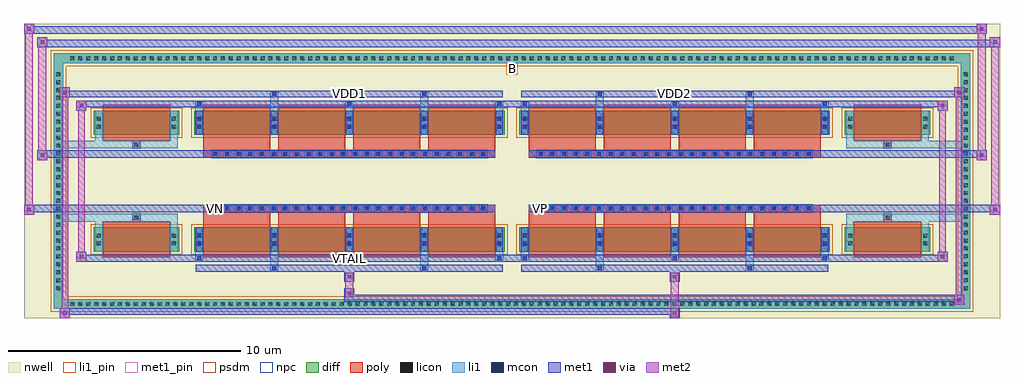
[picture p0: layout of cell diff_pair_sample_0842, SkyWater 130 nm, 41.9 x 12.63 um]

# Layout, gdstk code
import gdstk
lib = gdstk.Library(unit=1e-6, precision=5e-09)
def R(c, l, rs):  # rectangles x0, y0, x1, y1
    for r in rs: c.add(gdstk.rectangle(r[:2], r[2:], *l))
def A(c, l, x, y, w, h, nx, ny, dx, dy):  # array of equal rectangles
    R(c, l, [(x+i*dx, y+j*dy, x+i*dx+w, y+j*dy+h) for i in range(nx) for j in range(ny)])
def P(c, l, *ps):  # polygons
    for p in ps: c.add(gdstk.Polygon(p, *l))
nwell = (64, 20)
diff = (65, 20)
poly = (66, 20)
licon = (66, 44)
li1_pin = (67, 16)
li1 = (67, 20)
mcon = (67, 44)
met1_pin = (68, 16)
met1 = (68, 20)
via = (68, 44)
met2 = (69, 20)
psdm = (94, 20)
npc = (95, 20)

diff_pair_sample_0842 = lib.new_cell('diff_pair_sample_0842')
R(diff_pair_sample_0842, nwell, [(-20.95,-5.88,20.95,6.75), (-18.27,-4.07,-0.01,-0.805), (0.01,-4.07,18.27,-0.805), (-18.27,0.805,-0.01,4.07), (0.01,0.805,18.27,4.07)])
A(diff_pair_sample_0842, diff, -19.075, -5.48, 0.41, 0.41, 112, 2, 0.34, 10.55)
A(diff_pair_sample_0842, diff, -19.68, -4.795, 0.41, 0.41, 1, 28, 0, 0.34)
A(diff_pair_sample_0842, diff, 19.27, -4.795, 0.41, 0.41, 1, 28, 0, 0.34)
R(diff_pair_sample_0842, diff, [(-19.075,-5.48,19.075,-5.07), (-19.68,-4.795,-19.27,4.795), (19.27,-4.795,19.68,4.795), (-17.96,-3.025,-14.29,-1.985), (-13.65,-3.025,-0.32,-1.985), (0.32,-3.025,13.65,-1.985), (14.29,-3.025,17.96,-1.985), (-17.96,1.985,-14.29,3.025), (-13.65,1.985,-0.32,3.025), (0.32,1.985,13.65,3.025), (14.29,1.985,17.96,3.025), (-19.075,5.07,19.075,5.48)])
P(diff_pair_sample_0842, diff, [(19.68,5.48),(-19.68,5.48),(-19.68,-5.07),(-19.27,-5.07),(-19.27,5.07),(19.27,5.07),(19.27,-5.07),(-19.27,-5.07),(-19.68,-5.07),(-19.68,-5.48),(19.68,-5.48)])
A(diff_pair_sample_0842, poly, -13.26, -3.275, 2.89, 1.54, 4, 2, 3.22, 5.01)
A(diff_pair_sample_0842, poly, 0.71, -3.275, 2.89, 1.54, 4, 2, 3.22, 5.01)
A(diff_pair_sample_0842, poly, -13.26, -1.735, 2.89, 0.4, 4, 2, 3.22, 3.07)
A(diff_pair_sample_0842, poly, 0.71, -1.735, 2.89, 0.4, 4, 2, 3.22, 3.07)
A(diff_pair_sample_0842, poly, -12.9, -1.335, 0.33, 0.33, 24, 2, 0.5, 2.34)
A(diff_pair_sample_0842, poly, 1.07, -1.335, 0.33, 0.33, 24, 2, 0.5, 2.34)
R(diff_pair_sample_0842, poly, [(-17.57,-3.275,-14.68,-1.735), (14.68,-3.275,17.57,-1.735), (-16.29,-1.735,-15.96,-1.405), (-16.29,-1.735,-15.96,-1.405), (15.96,-1.735,16.29,-1.405), (15.96,-1.735,16.29,-1.405), (-13.26,-1.335,-0.71,-1.005), (0.71,-1.335,13.26,-1.005), (-13.26,1.005,-0.71,1.335), (0.71,1.005,13.26,1.335), (-16.29,1.405,-15.96,1.735), (-16.29,1.405,-15.96,1.735), (15.96,1.405,16.29,1.735), (15.96,1.405,16.29,1.735), (-17.57,1.735,-14.68,3.275), (14.68,1.735,17.57,3.275)])
A(diff_pair_sample_0842, licon, -18.955, -5.36, 0.17, 0.17, 112, 2, 0.34, 10.55)
A(diff_pair_sample_0842, licon, -19.56, -4.675, 0.17, 0.17, 1, 28, 0, 0.34)
A(diff_pair_sample_0842, licon, 19.39, -4.675, 0.17, 0.17, 1, 28, 0, 0.34)
A(diff_pair_sample_0842, licon, -13.51, -2.76, 0.17, 0.17, 5, 2, 3.22, 0.34)
A(diff_pair_sample_0842, licon, 0.46, -2.76, 0.17, 0.17, 5, 2, 3.22, 0.34)
A(diff_pair_sample_0842, licon, -12.82, -1.255, 0.17, 0.17, 24, 2, 0.5, 2.34)
A(diff_pair_sample_0842, licon, 1.15, -1.255, 0.17, 0.17, 24, 2, 0.5, 2.34)
A(diff_pair_sample_0842, licon, -13.51, 2.25, 0.17, 0.17, 5, 2, 3.22, 0.34)
A(diff_pair_sample_0842, licon, 0.46, 2.25, 0.17, 0.17, 5, 2, 3.22, 0.34)
R(diff_pair_sample_0842, licon, [(-17.82,-2.76,-17.65,-2.59), (-14.6,-2.76,-14.43,-2.59), (14.43,-2.76,14.6,-2.59), (17.65,-2.76,17.82,-2.59), (-17.82,-2.42,-17.65,-2.25), (-14.6,-2.42,-14.43,-2.25), (14.43,-2.42,14.6,-2.25), (17.65,-2.42,17.82,-2.25), (-16.21,-1.655,-16.04,-1.485), (16.04,-1.655,16.21,-1.485), (-16.21,1.485,-16.04,1.655), (16.04,1.485,16.21,1.655), (-17.82,2.25,-17.65,2.42), (-14.6,2.25,-14.43,2.42), (14.43,2.25,14.6,2.42), (17.65,2.25,17.82,2.42), (-17.82,2.59,-17.65,2.76), (-14.6,2.59,-14.43,2.76), (14.43,2.59,14.6,2.76), (17.65,2.59,17.82,2.76)])
R(diff_pair_sample_0842, li1_pin, [(-0.25,4.57,0.25,5.07)])
A(diff_pair_sample_0842, li1, -19.035, -5.44, 0.33, 0.33, 112, 2, 0.34, 10.55)
A(diff_pair_sample_0842, li1, -19.64, -4.755, 0.33, 0.33, 1, 28, 0, 0.34)
A(diff_pair_sample_0842, li1, 19.31, -4.755, 0.33, 0.33, 1, 28, 0, 0.34)
A(diff_pair_sample_0842, li1, -13.59, -3.4, 0.33, 0.375, 3, 2, 6.44, 6.425)
A(diff_pair_sample_0842, li1, -13.51, -3.4, 0.17, 0.17, 3, 2, 6.44, 6.63)
A(diff_pair_sample_0842, li1, 0.38, -3.4, 0.33, 0.375, 3, 2, 6.44, 6.425)
A(diff_pair_sample_0842, li1, 0.46, -3.4, 0.17, 0.17, 3, 2, 6.44, 6.63)
A(diff_pair_sample_0842, li1, -13.59, -3.025, 0.33, 1.04, 5, 2, 3.22, 5.01)
A(diff_pair_sample_0842, li1, 0.38, -3.025, 0.33, 1.04, 5, 2, 3.22, 5.01)
A(diff_pair_sample_0842, li1, -13.59, -2.84, 0.33, 0.33, 5, 2, 3.22, 0.34)
A(diff_pair_sample_0842, li1, 0.38, -2.84, 0.33, 0.33, 5, 2, 3.22, 0.34)
A(diff_pair_sample_0842, li1, -13.51, -2.77, 0.17, 0.17, 5, 2, 3.22, 0.36)
A(diff_pair_sample_0842, li1, -13.51, -2.77, 0.17, 0.53, 5, 2, 3.22, 5.01)
A(diff_pair_sample_0842, li1, 0.46, -2.77, 0.17, 0.17, 5, 2, 3.22, 0.36)
A(diff_pair_sample_0842, li1, 0.46, -2.77, 0.17, 0.53, 5, 2, 3.22, 5.01)
A(diff_pair_sample_0842, li1, -12.9, -1.335, 0.33, 0.33, 24, 2, 0.5, 2.34)
A(diff_pair_sample_0842, li1, 1.07, -1.335, 0.33, 0.33, 24, 2, 0.5, 2.34)
A(diff_pair_sample_0842, li1, -13.59, 2.17, 0.33, 0.33, 5, 2, 3.22, 0.34)
A(diff_pair_sample_0842, li1, 0.38, 2.17, 0.33, 0.33, 5, 2, 3.22, 0.34)
A(diff_pair_sample_0842, li1, -13.51, 2.24, 0.17, 0.17, 5, 2, 3.22, 0.36)
A(diff_pair_sample_0842, li1, 0.46, 2.24, 0.17, 0.17, 5, 2, 3.22, 0.36)
R(diff_pair_sample_0842, li1, [(-19.68,-5.48,-19.27,-5.07), (-19.68,-5.48,-19.27,-5.07), (-19.27,-5.48,19.27,-5.07), (19.27,-5.48,19.68,-5.07), (19.27,-5.48,19.68,-5.07), (-19.68,-5.07,-19.27,5.07), (19.27,-5.07,19.68,5.07), (-10.37,-3.83,-10.04,-3.025), (-10.29,-3.83,-10.12,-3.66), (-3.93,-3.83,-3.6,-3.025), (-3.85,-3.83,-3.68,-3.66), (3.6,-3.83,3.93,-3.025), (3.68,-3.83,3.85,-3.66), (10.04,-3.83,10.37,-3.025), (10.12,-3.83,10.29,-3.66), (-17.9,-3.025,-17.57,-1.985), (-14.68,-3.025,-14.35,-1.985), (14.35,-3.025,14.68,-1.985), (17.57,-3.025,17.9,-1.985), (-17.9,-2.84,-17.57,-2.51), (-14.68,-2.84,-14.35,-2.51), (14.35,-2.84,14.68,-2.51), (17.57,-2.84,17.9,-2.51), (-17.9,-2.5,-17.57,-2.17), (-14.68,-2.5,-14.35,-2.17), (14.35,-2.5,14.68,-2.17), (17.57,-2.5,17.9,-2.17), (-17.9,-1.985,-17.57,-1.405), (-14.68,-1.985,-14.35,-1.405), (14.35,-1.985,14.68,-1.405), (17.57,-1.985,17.9,-1.405), (-19.68,-1.735,-16.29,-1.405), (-17.9,-1.735,-16.29,-1.405), (-16.29,-1.735,-15.96,-1.405), (-15.96,-1.735,-14.35,-1.405), (14.35,-1.735,15.96,-1.405), (15.96,-1.735,16.29,-1.405), (15.96,-1.735,19.68,-1.405), (16.29,-1.735,17.9,-1.405), (-19.68,1.405,-16.29,1.735), (-17.9,1.405,-16.29,1.735), (-17.9,1.405,-17.57,1.985), (-16.29,1.405,-15.96,1.735), (-15.96,1.405,-14.35,1.735), (-14.68,1.405,-14.35,1.985), (14.35,1.405,15.96,1.735), (14.35,1.405,14.68,1.985), (15.96,1.405,16.29,1.735), (15.96,1.405,19.68,1.735), (16.29,1.405,17.9,1.735), (17.57,1.405,17.9,1.985), (-17.9,1.985,-17.57,3.025), (-14.68,1.985,-14.35,3.025), (14.35,1.985,14.68,3.025), (17.57,1.985,17.9,3.025), (-17.9,2.17,-17.57,2.5), (-14.68,2.17,-14.35,2.5), (14.35,2.17,14.68,2.5), (17.57,2.17,17.9,2.5), (-17.9,2.51,-17.57,2.84), (-14.68,2.51,-14.35,2.84), (14.35,2.51,14.68,2.84), (17.57,2.51,17.9,2.84), (-10.37,3.025,-10.04,3.83), (-3.93,3.025,-3.6,3.83), (3.6,3.025,3.93,3.83), (10.04,3.025,10.37,3.83), (-10.29,3.66,-10.12,3.83), (-3.85,3.66,-3.68,3.83), (3.68,3.66,3.85,3.83), (10.12,3.66,10.29,3.83), (-19.68,5.07,-19.27,5.48), (-19.68,5.07,-19.27,5.48), (-19.27,5.07,19.27,5.48), (19.27,5.07,19.68,5.48), (19.27,5.07,19.68,5.48)])
A(diff_pair_sample_0842, mcon, -13.51, -3.4, 0.17, 0.17, 3, 2, 6.44, 6.63)
A(diff_pair_sample_0842, mcon, 0.46, -3.4, 0.17, 0.17, 3, 2, 6.44, 6.63)
A(diff_pair_sample_0842, mcon, -13.51, -2.77, 0.17, 0.17, 5, 2, 3.22, 0.36)
A(diff_pair_sample_0842, mcon, 0.46, -2.77, 0.17, 0.17, 5, 2, 3.22, 0.36)
A(diff_pair_sample_0842, mcon, -12.82, -1.255, 0.17, 0.17, 24, 2, 0.5, 2.34)
A(diff_pair_sample_0842, mcon, 1.15, -1.255, 0.17, 0.17, 24, 2, 0.5, 2.34)
A(diff_pair_sample_0842, mcon, -13.51, 2.24, 0.17, 0.17, 5, 2, 3.22, 0.36)
A(diff_pair_sample_0842, mcon, 0.46, 2.24, 0.17, 0.17, 5, 2, 3.22, 0.36)
R(diff_pair_sample_0842, mcon, [(-10.29,-3.83,-10.12,-3.66), (-3.85,-3.83,-3.68,-3.66), (3.68,-3.83,3.85,-3.66), (10.12,-3.83,10.29,-3.66), (-10.29,3.66,-10.12,3.83), (-3.85,3.66,-3.68,3.83), (3.68,3.66,3.85,3.83), (10.12,3.66,10.29,3.83)])
R(diff_pair_sample_0842, met1_pin, [(-7.12,-3.44,-6.85,-3.17), (-12.87,-1.295,-12.6,-1.025), (1.1,-1.295,1.37,-1.025), (-7.12,3.62,-6.85,3.89), (6.85,3.62,7.12,3.89)])
A(diff_pair_sample_0842, met1, -13.57, -3.46, 0.29, 0.29, 3, 2, 6.44, 6.63)
A(diff_pair_sample_0842, met1, 0.4, -3.46, 0.29, 0.29, 3, 2, 6.44, 6.63)
A(diff_pair_sample_0842, met1, -13.57, -3.025, 0.29, 1.04, 5, 2, 3.22, 5.01)
A(diff_pair_sample_0842, met1, 0.4, -3.025, 0.29, 1.04, 5, 2, 3.22, 5.01)
A(diff_pair_sample_0842, met1, -13.57, -2.83, 0.29, 0.29, 5, 2, 3.22, 0.36)
A(diff_pair_sample_0842, met1, 0.4, -2.83, 0.29, 0.29, 5, 2, 3.22, 0.36)
A(diff_pair_sample_0842, met1, -12.88, -1.315, 0.29, 0.29, 24, 2, 0.5, 2.34)
A(diff_pair_sample_0842, met1, 1.09, -1.315, 0.29, 0.29, 24, 2, 0.5, 2.34)
A(diff_pair_sample_0842, met1, -13.57, 2.18, 0.29, 0.29, 5, 2, 3.22, 0.36)
A(diff_pair_sample_0842, met1, 0.4, 2.18, 0.29, 0.29, 5, 2, 3.22, 0.36)
R(diff_pair_sample_0842, met1, [(-19.41,-5.88,-18.98,-5.45), (6.77,-5.88,7.2,-5.45), (-19.41,-5.74,7.2,-5.45), (18.98,-5.31,19.41,-4.88), (-7.2,-5.17,19.41,-4.88), (-7.2,-5.03,-6.77,-4.6), (-7.2,-4.32,-6.77,-3.89), (6.77,-4.32,7.2,-3.89), (-13.57,-3.89,-0.4,-3.6), (-10.35,-3.89,-10.06,-3.6), (-3.91,-3.89,-3.62,-3.6), (0.4,-3.89,13.57,-3.6), (3.62,-3.89,3.91,-3.6), (10.06,-3.89,10.35,-3.6), (-18.7,-3.46,-18.27,-3.03), (-18.7,-3.46,-13.57,-3.17), (-13.57,-3.46,-0.4,-3.17), (-0.4,-3.46,0.4,-3.17), (0.4,-3.46,13.57,-3.17), (13.57,-3.46,18.7,-3.17), (18.27,-3.46,18.7,-3.03), (-20.95,-1.435,-20.52,-1.005), (20.52,-1.435,20.95,-1.005), (-20.95,-1.335,-0.71,-1.005), (-13.26,-1.335,-0.71,-1.005), (0.71,-1.335,13.26,-1.005), (0.71,-1.335,20.95,-1.005), (-20.38,0.905,-19.95,1.335), (19.95,0.905,20.38,1.335), (-20.38,1.005,-13.26,1.335), (-13.26,1.005,-0.71,1.335), (0.71,1.005,13.26,1.335), (13.26,1.005,20.38,1.335), (-18.7,3.03,-18.27,3.46), (18.27,3.03,18.7,3.46), (-18.7,3.17,-13.57,3.46), (-13.57,3.17,-0.4,3.46), (-0.4,3.17,0.4,3.46), (0.4,3.17,13.57,3.46), (13.57,3.17,18.7,3.46), (-19.41,3.6,-18.98,4.03), (-19.41,3.6,-13.57,3.89), (-13.57,3.6,-0.4,3.89), (-10.35,3.6,-10.06,3.89), (-3.91,3.6,-3.62,3.89), (0.4,3.6,13.57,3.89), (3.62,3.6,3.91,3.89), (10.06,3.6,10.35,3.89), (13.57,3.6,19.41,3.89), (18.98,3.6,19.41,4.03), (-20.38,5.75,-19.95,6.18), (-20.38,5.75,-18.27,6.08), (-18.27,5.75,18.27,6.08), (18.27,5.75,20.95,6.08), (20.52,5.75,20.95,6.18), (-20.95,6.32,-20.52,6.75), (-20.95,6.32,-18.27,6.65), (-18.27,6.32,18.27,6.65), (18.27,6.32,20.38,6.65), (19.95,6.32,20.38,6.75)])
R(diff_pair_sample_0842, via, [(-19.27,-5.74,-19.12,-5.59), (6.91,-5.74,7.06,-5.59), (19.12,-5.17,19.27,-5.02), (-7.06,-4.89,-6.91,-4.74), (-7.06,-4.18,-6.91,-4.03), (6.91,-4.18,7.06,-4.03), (-18.56,-3.32,-18.41,-3.17), (18.41,-3.32,18.56,-3.17), (-20.81,-1.295,-20.66,-1.145), (20.66,-1.295,20.81,-1.145), (-20.24,1.045,-20.09,1.195), (20.09,1.045,20.24,1.195), (-18.56,3.17,-18.41,3.32), (18.41,3.17,18.56,3.32), (-19.27,3.74,-19.12,3.89), (19.12,3.74,19.27,3.89), (-20.24,5.89,-20.09,6.04), (20.66,5.89,20.81,6.04), (-20.81,6.46,-20.66,6.61), (20.09,6.46,20.24,6.61)])
R(diff_pair_sample_0842, met2, [(-19.41,-5.88,-18.98,-5.45), (-19.34,-5.88,-19.05,4.03), (-19.05,-5.88,-18.98,-5.45), (-19.36,-5.83,-19.03,-5.5), (6.82,-5.83,7.15,-5.5), (6.82,-5.5,7.15,-4.27), (18.98,-5.31,19.41,-4.88), (19.05,-5.31,19.34,4.03), (19.34,-5.31,19.41,-4.88), (19.03,-5.26,19.36,-4.93), (-7.15,-4.98,-6.82,-4.65), (-7.15,-4.65,-6.82,-4.27), (-7.15,-4.27,-6.82,-3.94), (6.82,-4.27,7.15,-3.94), (-18.7,-3.46,-18.27,-3.03), (-18.63,-3.46,-18.34,3.46), (-18.34,-3.46,-18.27,-3.03), (18.27,-3.46,18.7,-3.03), (18.34,-3.46,18.63,3.46), (18.63,-3.46,18.7,-3.03), (-18.65,-3.41,-18.32,-3.08), (18.32,-3.41,18.65,-3.08), (-20.95,-1.435,-20.52,-1.005), (-20.9,-1.435,-20.57,6.75), (-20.57,-1.435,-20.52,-1.005), (20.52,-1.435,20.95,-1.005), (20.57,-1.435,20.9,6.18), (20.9,-1.435,20.95,-1.005), (-20.9,-1.385,-20.57,-1.055), (20.57,-1.385,20.9,-1.055), (-20.38,0.905,-19.95,1.335), (-20.33,0.905,-20,6.18), (-20,0.905,-19.95,1.335), (19.95,0.905,20.38,1.335), (20,0.905,20.33,6.75), (20.33,0.905,20.38,1.335), (-20.33,0.955,-20,1.285), (20,0.955,20.33,1.285), (-18.7,3.03,-18.27,3.46), (-18.34,3.03,-18.27,3.46), (18.27,3.03,18.7,3.46), (18.63,3.03,18.7,3.46), (-18.65,3.08,-18.32,3.41), (18.32,3.08,18.65,3.41), (-19.41,3.6,-18.98,4.03), (-19.05,3.6,-18.98,4.03), (18.98,3.6,19.41,4.03), (19.34,3.6,19.41,4.03), (-19.36,3.65,-19.03,3.98), (19.03,3.65,19.36,3.98), (-20.38,5.75,-19.95,6.18), (-20,5.75,-19.95,6.18), (20.52,5.75,20.95,6.18), (20.9,5.75,20.95,6.18), (-20.33,5.8,-20,6.13), (20.57,5.8,20.9,6.13), (-20.95,6.32,-20.52,6.75), (-20.57,6.32,-20.52,6.75), (19.95,6.32,20.38,6.75), (20.33,6.32,20.38,6.75), (-20.9,6.37,-20.57,6.7), (20,6.37,20.33,6.7)])
R(diff_pair_sample_0842, psdm, [(-18.09,-3.155,-14.16,-1.855), (-13.78,-3.155,-0.19,-1.855), (0.19,-3.155,13.78,-1.855), (14.16,-3.155,18.09,-1.855), (-18.09,1.855,-14.16,3.155), (-13.78,1.855,-0.19,3.155), (0.19,1.855,13.78,3.155), (14.16,1.855,18.09,3.155)])
P(diff_pair_sample_0842, psdm, [(19.81,5.61),(-19.81,5.61),(-19.81,-4.94),(-19.14,-4.94),(-19.14,4.94),(19.14,4.94),(19.14,-4.94),(-19.14,-4.94),(-19.81,-4.94),(-19.81,-5.61),(19.81,-5.61)])
A(diff_pair_sample_0842, npc, -12.92, -1.355, 0.37, 0.37, 24, 2, 0.5, 2.34)
A(diff_pair_sample_0842, npc, 1.05, -1.355, 0.37, 0.37, 24, 2, 0.5, 2.34)
R(diff_pair_sample_0842, npc, [(-16.31,-1.755,-15.94,-1.385), (15.94,-1.755,16.31,-1.385), (-12.92,-1.355,-12.05,-0.985), (-12.92,-1.355,-12.05,-0.985), (-12.42,-1.355,-11.55,-0.985), (-12.42,-1.355,-11.55,-0.985), (-11.92,-1.355,-11.05,-0.985), (-11.92,-1.355,-11.05,-0.985), (-11.42,-1.355,-10.55,-0.985), (-11.42,-1.355,-10.55,-0.985), (-10.92,-1.355,-10.05,-0.985), (-10.92,-1.355,-10.05,-0.985), (-10.42,-1.355,-9.55,-0.985), (-10.42,-1.355,-9.55,-0.985), (-9.92,-1.355,-9.05,-0.985), (-9.92,-1.355,-9.05,-0.985), (-9.42,-1.355,-8.55,-0.985), (-9.42,-1.355,-8.55,-0.985), (-8.92,-1.355,-8.05,-0.985), (-8.92,-1.355,-8.05,-0.985), (-8.42,-1.355,-7.55,-0.985), (-8.42,-1.355,-7.55,-0.985), (-7.92,-1.355,-7.05,-0.985), (-7.92,-1.355,-7.05,-0.985), (-7.42,-1.355,-6.55,-0.985), (-7.42,-1.355,-6.55,-0.985), (-6.92,-1.355,-6.05,-0.985), (-6.92,-1.355,-6.05,-0.985), (-6.42,-1.355,-5.55,-0.985), (-6.42,-1.355,-5.55,-0.985), (-5.92,-1.355,-5.05,-0.985), (-5.92,-1.355,-5.05,-0.985), (-5.42,-1.355,-4.55,-0.985), (-5.42,-1.355,-4.55,-0.985), (-4.92,-1.355,-4.05,-0.985), (-4.92,-1.355,-4.05,-0.985), (-4.42,-1.355,-3.55,-0.985), (-4.42,-1.355,-3.55,-0.985), (-3.92,-1.355,-3.05,-0.985), (-3.92,-1.355,-3.05,-0.985), (-3.42,-1.355,-2.55,-0.985), (-3.42,-1.355,-2.55,-0.985), (-2.92,-1.355,-2.05,-0.985), (-2.92,-1.355,-2.05,-0.985), (-2.42,-1.355,-1.55,-0.985), (-2.42,-1.355,-1.55,-0.985), (-1.92,-1.355,-1.05,-0.985), (-1.92,-1.355,-1.05,-0.985), (1.05,-1.355,1.92,-0.985), (1.05,-1.355,1.92,-0.985), (1.55,-1.355,2.42,-0.985), (1.55,-1.355,2.42,-0.985), (2.05,-1.355,2.92,-0.985), (2.05,-1.355,2.92,-0.985), (2.55,-1.355,3.42,-0.985), (2.55,-1.355,3.42,-0.985), (3.05,-1.355,3.92,-0.985), (3.05,-1.355,3.92,-0.985), (3.55,-1.355,4.42,-0.985), (3.55,-1.355,4.42,-0.985), (4.05,-1.355,4.92,-0.985), (4.05,-1.355,4.92,-0.985), (4.55,-1.355,5.42,-0.985), (4.55,-1.355,5.42,-0.985), (5.05,-1.355,5.92,-0.985), (5.05,-1.355,5.92,-0.985), (5.55,-1.355,6.42,-0.985), (5.55,-1.355,6.42,-0.985), (6.05,-1.355,6.92,-0.985), (6.05,-1.355,6.92,-0.985), (6.55,-1.355,7.42,-0.985), (6.55,-1.355,7.42,-0.985), (7.05,-1.355,7.92,-0.985), (7.05,-1.355,7.92,-0.985), (7.55,-1.355,8.42,-0.985), (7.55,-1.355,8.42,-0.985), (8.05,-1.355,8.92,-0.985), (8.05,-1.355,8.92,-0.985), (8.55,-1.355,9.42,-0.985), (8.55,-1.355,9.42,-0.985), (9.05,-1.355,9.92,-0.985), (9.05,-1.355,9.92,-0.985), (9.55,-1.355,10.42,-0.985), (9.55,-1.355,10.42,-0.985), (10.05,-1.355,10.92,-0.985), (10.05,-1.355,10.92,-0.985), (10.55,-1.355,11.42,-0.985), (10.55,-1.355,11.42,-0.985), (11.05,-1.355,11.92,-0.985), (11.05,-1.355,11.92,-0.985), (11.55,-1.355,12.42,-0.985), (11.55,-1.355,12.42,-0.985), (12.05,-1.355,12.92,-0.985), (12.05,-1.355,12.92,-0.985), (-12.92,0.985,-12.05,1.355), (-12.92,0.985,-12.05,1.355), (-12.42,0.985,-11.55,1.355), (-12.42,0.985,-11.55,1.355), (-11.92,0.985,-11.05,1.355), (-11.92,0.985,-11.05,1.355), (-11.42,0.985,-10.55,1.355), (-11.42,0.985,-10.55,1.355), (-10.92,0.985,-10.05,1.355), (-10.92,0.985,-10.05,1.355), (-10.42,0.985,-9.55,1.355), (-10.42,0.985,-9.55,1.355), (-9.92,0.985,-9.05,1.355), (-9.92,0.985,-9.05,1.355), (-9.42,0.985,-8.55,1.355), (-9.42,0.985,-8.55,1.355), (-8.92,0.985,-8.05,1.355), (-8.92,0.985,-8.05,1.355), (-8.42,0.985,-7.55,1.355), (-8.42,0.985,-7.55,1.355), (-7.92,0.985,-7.05,1.355), (-7.92,0.985,-7.05,1.355), (-7.42,0.985,-6.55,1.355), (-7.42,0.985,-6.55,1.355), (-6.92,0.985,-6.05,1.355), (-6.92,0.985,-6.05,1.355), (-6.42,0.985,-5.55,1.355), (-6.42,0.985,-5.55,1.355), (-5.92,0.985,-5.05,1.355), (-5.92,0.985,-5.05,1.355), (-5.42,0.985,-4.55,1.355), (-5.42,0.985,-4.55,1.355), (-4.92,0.985,-4.05,1.355), (-4.92,0.985,-4.05,1.355), (-4.42,0.985,-3.55,1.355), (-4.42,0.985,-3.55,1.355), (-3.92,0.985,-3.05,1.355), (-3.92,0.985,-3.05,1.355), (-3.42,0.985,-2.55,1.355), (-3.42,0.985,-2.55,1.355), (-2.92,0.985,-2.05,1.355), (-2.92,0.985,-2.05,1.355), (-2.42,0.985,-1.55,1.355), (-2.42,0.985,-1.55,1.355), (-1.92,0.985,-1.05,1.355), (-1.92,0.985,-1.05,1.355), (1.05,0.985,1.92,1.355), (1.05,0.985,1.92,1.355), (1.55,0.985,2.42,1.355), (1.55,0.985,2.42,1.355), (2.05,0.985,2.92,1.355), (2.05,0.985,2.92,1.355), (2.55,0.985,3.42,1.355), (2.55,0.985,3.42,1.355), (3.05,0.985,3.92,1.355), (3.05,0.985,3.92,1.355), (3.55,0.985,4.42,1.355), (3.55,0.985,4.42,1.355), (4.05,0.985,4.92,1.355), (4.05,0.985,4.92,1.355), (4.55,0.985,5.42,1.355), (4.55,0.985,5.42,1.355), (5.05,0.985,5.92,1.355), (5.05,0.985,5.92,1.355), (5.55,0.985,6.42,1.355), (5.55,0.985,6.42,1.355), (6.05,0.985,6.92,1.355), (6.05,0.985,6.92,1.355), (6.55,0.985,7.42,1.355), (6.55,0.985,7.42,1.355), (7.05,0.985,7.92,1.355), (7.05,0.985,7.92,1.355), (7.55,0.985,8.42,1.355), (7.55,0.985,8.42,1.355), (8.05,0.985,8.92,1.355), (8.05,0.985,8.92,1.355), (8.55,0.985,9.42,1.355), (8.55,0.985,9.42,1.355), (9.05,0.985,9.92,1.355), (9.05,0.985,9.92,1.355), (9.55,0.985,10.42,1.355), (9.55,0.985,10.42,1.355), (10.05,0.985,10.92,1.355), (10.05,0.985,10.92,1.355), (10.55,0.985,11.42,1.355), (10.55,0.985,11.42,1.355), (11.05,0.985,11.92,1.355), (11.05,0.985,11.92,1.355), (11.55,0.985,12.42,1.355), (11.55,0.985,12.42,1.355), (12.05,0.985,12.92,1.355), (12.05,0.985,12.92,1.355), (-16.31,1.385,-15.94,1.755), (15.94,1.385,16.31,1.755)])
diff_pair_sample_0842.add(gdstk.Label('VTAIL', (-6.985,-3.305), layer=68, texttype=5))
diff_pair_sample_0842.add(gdstk.Label('VN', (-12.735,-1.16), layer=68, texttype=5))
diff_pair_sample_0842.add(gdstk.Label('VP', (1.235,-1.16), layer=68, texttype=5))
diff_pair_sample_0842.add(gdstk.Label('B', (0,4.82), layer=67, texttype=5))
diff_pair_sample_0842.add(gdstk.Label('VDD2', (6.985,3.755), layer=68, texttype=5))
diff_pair_sample_0842.add(gdstk.Label('VDD1', (-6.985,3.755), layer=68, texttype=5))

lib.write_gds('diff_pair_sample_0842.gds')
